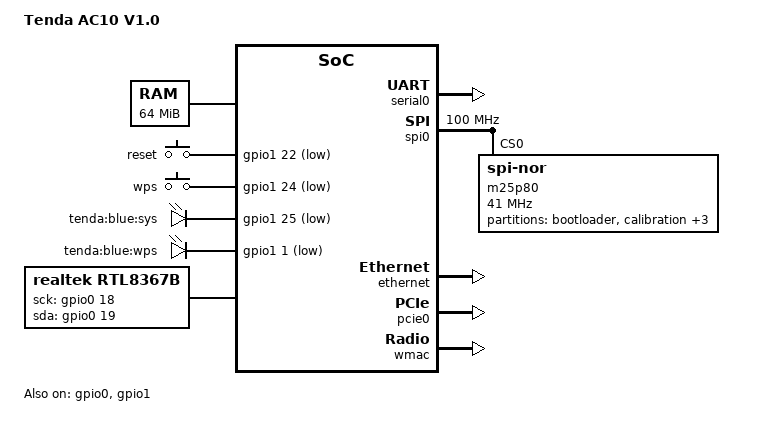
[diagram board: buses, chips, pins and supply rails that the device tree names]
// SPDX-License-Identifier: GPL-2.0-or-later
/*
 * Device Tree Source for Tenda AC10 V1.0 Router (Hybrid OpenWrt 4.14 / RTL8197FS)
 *
 * Target: Realtek RTL8197FS (MIPS 24KEc @ 1000 MHz, 64 MB DDR2 DRAM, 8 MB SPI NOR Flash)
 * Switch: Realtek RTL8367RB-VB Gigabit Switch (SMI on GPIO 18/19, Reset GPIO 58, CPU RGMII Port 6)
 * Wireless: Integrated RTL8197FS (2.4 GHz 2x2 b/g/n WMAC @ 0x18640000) + RTL8822BE (5 GHz 2x2 ac Wave 2, PCIe RC0)
 * RF Front-Ends: Skyworth SE5003L1 RFE Type 6 (5 GHz External PA/LNA) + Skyworth SKY85303-11 RFE Type 5 (2.4 GHz)
 */

/dts-v1/;

#include <dt-bindings/gpio/gpio.h>
#include <dt-bindings/input/input.h>

/ {
	#address-cells = <1>;
	#size-cells = <1>;
	compatible = "tenda,ac10-v1", "realtek,rtl8197f-soc";
	model = "Tenda AC10 V1.0";

	memory {
		device_type = "memory";
		reg = <0x0 0x4000000>; /* 64 MB DDR2 DRAM */
	};

	chosen {
		bootargs = "console=ttyS0,115200";
	};

	cpus {
		cpu@0 {
			compatible = "mips,mips24KEc";
		};
	};

	cpuintc: cpuintc {
		#address-cells = <0>;
		#interrupt-cells = <1>;
		interrupt-controller;
		compatible = "mti,cpu-interrupt-controller";
	};

	soc {
		compatible = "simple-bus";
		ranges = <0x0 0x18000000 0x10000>;

		#address-cells = <1>;
		#size-cells = <1>;

		sysc: system-controller@0 {
			compatible = "realtek,rtl819x-sysc";
			reg = <0x0 0x1000>;
		};

		memc: memory-controller@1000 {
			compatible = "realtek,rtl819x-memc";
			reg = <0x1000 0x100>;
		};

		intc: intc@3000 {
			compatible = "realtek,rtl819x-intc";
			reg = <0x3000 0x100>;

			interrupt-controller;
			#interrupt-cells = <1>;

			interrupt-parent = <&cpuintc>;
			interrupts = <2>;
		};

		gpio0: gpio-controller@3500 {
			compatible = "realtek,rtl8197f-gpio";
			reg = <0x3500 0x1c>;
			gpio-controller;
			#gpio-cells = <2>;
			status = "okay";
		};

		gpio1: gpio-controller@351C {
			compatible = "realtek,rtl8197f-gpio";
			reg = <0x351C 0x1c>;
			gpio-controller;
			#gpio-cells = <2>;
			status = "okay";
		};
	};

	serial0: serial@18147000 {
		compatible = "realtek,rtl8197f-uart", "snps,dw-apb-uart";
		reg = <0x18147000 0x100>;

		interrupt-parent = <&intc>;
		interrupts = <9>;

		reg-io-width = <4>;
		reg-shift = <2>;
		clock-frequency = <100000000>;
	};

	spi0: spi@18143000 {
		compatible = "realtek,sheipa-spi";
		reg = <0x18143000 0x1000
		       0x10000000 0x2000000>;

		#address-cells = <1>;
		#size-cells = <0>;

		clock-frequency = <100000000>;
		status = "okay";

		m25p80@0 {
			#address-cells = <1>;
			#size-cells = <1>;
			compatible = "jedec,spi-nor";
			reg = <0>;
			spi-max-frequency = <41000000>;

			/* Realtek Booter v3.4.11B.9 */
			partition@0 {
				label = "bootloader";
				reg = <0x000000 0x020000>; /* 128 KB */
				read-only;
			};

			/* Factory RF calibration & board parameters (ASCII key-value + LE CRC32 header) */
			partition@20000 {
				label = "calibration";
				reg = <0x020000 0x010000>; /* 64 KB */
				read-only;
			};

			/* Kernel + RootFS container (burn target at 0x30000 with cs6c/cr6c header) */
			partition@30000 {
				label = "firmware";
				reg = <0x030000 0x7b0000>; /* 7872 KB = 7.6875 MB */
			};

			/* Tenda CFM Primary NVRAM Configuration */
			partition@7e0000 {
				label = "cfm_primary";
				reg = <0x7e0000 0x010000>; /* 64 KB */
				read-only;
			};

			/* Tenda CFM Backup NVRAM Configuration */
			partition@7f0000 {
				label = "cfm_backup";
				reg = <0x7f0000 0x010000>; /* 64 KB */
				read-only;
			};
		};
	};

	ethernet: ethernet@18010000 {
		compatible = "realtek,rtl8197f-eth", "realtek,rtl819x-eth";
		reg = <0x18010000 0x100>;
		interrupt-parent = <&cpuintc>;
		interrupts = <4>;
	};

	pcie_clk: pcie_clk {
		#clock-cells = <0>;
		compatible = "fixed-clock";
		clock-frequency = <25000000>;
	};

	pcie0: pcie-controller@18b00000 {
		compatible = "realtek,rtl8196b-pci";
		#address-cells = <3>;
		#size-cells = <2>;
		bus-range = <0 255>;
		reg = <0x18b00000 0x1000>,
		      <0x18b01000 0x1000>,
		      <0x18b10000 0x1000>,
		      <0x18b11000 0x1000>;
		reg-names = "rc_cfg_base", "rc_ext_base", "dev_cfg0_base", "dev_cfg1_base";
		ranges = <0x02000000 0 0x00000000 0x19000000 0 0x01000000
			  0x01000000 0 0x00000000 0x18c00000 0 0x00200000>;
		interrupt-parent = <&cpuintc>;
		interrupts = <5>;
		clocks = <&pcie_clk>;
		status = "okay";
	};

	pcie1: pcie-controller@18b20000 {
		compatible = "realtek,rtl8196b-pci";
		#address-cells = <3>;
		#size-cells = <2>;
		bus-range = <0 255>;
		reg = <0x18b20000 0x1000>,
		      <0x18b21000 0x1000>,
		      <0x18b30000 0x1000>,
		      <0x18b31000 0x1000>;
		reg-names = "rc_cfg_base", "rc_ext_base", "dev_cfg0_base", "dev_cfg1_base";
		ranges = <0x02000000 0 0x00000000 0x1a000000 0 0x01000000
			  0x01000000 0 0x00000000 0x18e00000 0 0x00200000>;
		interrupt-parent = <&cpuintc>;
		interrupts = <6>;
		clocks = <&pcie_clk>;
		status = "disabled";
	};

	wmac: wmac@18640000 {
		compatible = "realtek,rtl8197f-wmac";
		reg = <0x18640000 0x10000>;
		interrupt-parent = <&cpuintc>;
		interrupts = <6>;
		clocks = <&pcie_clk>;
		status = "okay";
	};

	gpio-keys-polled {
		compatible = "gpio-keys-polled";
		#address-cells = <1>;
		#size-cells = <0>;
		poll-interval = <20>;

		reset {
			label = "reset";
			gpios = <&gpio1 22 GPIO_ACTIVE_LOW>; /* vendor GPIO 54 (Bank G, Pin 6) */
			linux,code = <KEY_RESTART>;
		};

		wps {
			label = "wps";
			gpios = <&gpio1 24 GPIO_ACTIVE_LOW>; /* vendor GPIO 56 (Bank H, Pin 0) */
			linux,code = <KEY_WPS_BUTTON>;
		};
	};

	/*
	 * Panel LEDs verified from stock vmlinux rtl819x_gpio_peripheral_init() @ 0x806C0030:
	 *   rtl_pdata_led1 = GPIO 57 (Bank H, Pin 1 -> <&gpio1 25 GPIO_ACTIVE_LOW>) = "sys led"
	 *   rtl_pdata_led2 = GPIO 33 (Bank E, Pin 1 -> <&gpio1 1  GPIO_ACTIVE_LOW>) = "wps led"
	 */
	gpio-leds {
		compatible = "gpio-leds";

		led_sys: sys {
			label = "tenda:blue:sys";
			gpios = <&gpio1 25 GPIO_ACTIVE_LOW>;
			default-state = "on";
		};

		wps {
			label = "tenda:blue:wps";
			gpios = <&gpio1 1 GPIO_ACTIVE_LOW>;
		};
	};

	/*
	 * Realtek RTL8367RB-VB External 5-Port Gigabit Switch
	 *   MDC  (Clock) : GPIO 18 (Bank C, Pin 2 -> <&gpio0 18 GPIO_ACTIVE_HIGH>)
	 *   MDIO (Data)  : GPIO 19 (Bank C, Pin 3 -> <&gpio0 19 GPIO_ACTIVE_HIGH>)
	 *   RST  (Reset) : GPIO 58 (Bank H, Pin 2 -> <&gpio1 26 GPIO_ACTIVE_LOW>, PEFGH_DAT BIT(26))
	 *   CPU RGMII    : Port 6 (EXT_PORT_1, 1000M full-duplex, txDelay=0, rxDelay=2)
	 *   Physical Map : Port 3 = WAN (VID 1), Ports 2/1/0 = LAN1/LAN2/LAN3 (VID 2)
	 *
	 * HAZARD NOTE (4PDA #1943 / booter_stage2 @ 0x8000B518):
	 *   Vendor GPIO 58 (<&gpio1 26>) is physically wired to RTL8367RB-VB hardware RESET.
	 *   Realtek Booter v3.4.11B.9 releases GPIO 58 at boot and initializes RGMII + SMI.
	 *   Do NOT unmask realtek,reset-gpio or export/toggle GPIO 58 from userspace without
	 *   a full switch + ASIC re-init, or all RJ45 switch ports will drop immediately!
	 */
	rtl8367b {
		compatible = "realtek,rtl8367b";
		cpu_port = <6>;
		realtek,cpu-port = <6>;
		realtek,extif1 = <1 0 1 1 1 1 1 1 2>;
		gpio-sck = <&gpio0 18 GPIO_ACTIVE_HIGH>;
		gpio-sda = <&gpio0 19 GPIO_ACTIVE_HIGH>;
		/* realtek,reset-gpio = <&gpio1 26 GPIO_ACTIVE_LOW>; */
		realtek,ext-rgmii-delay = <0x02>;
	};
};
